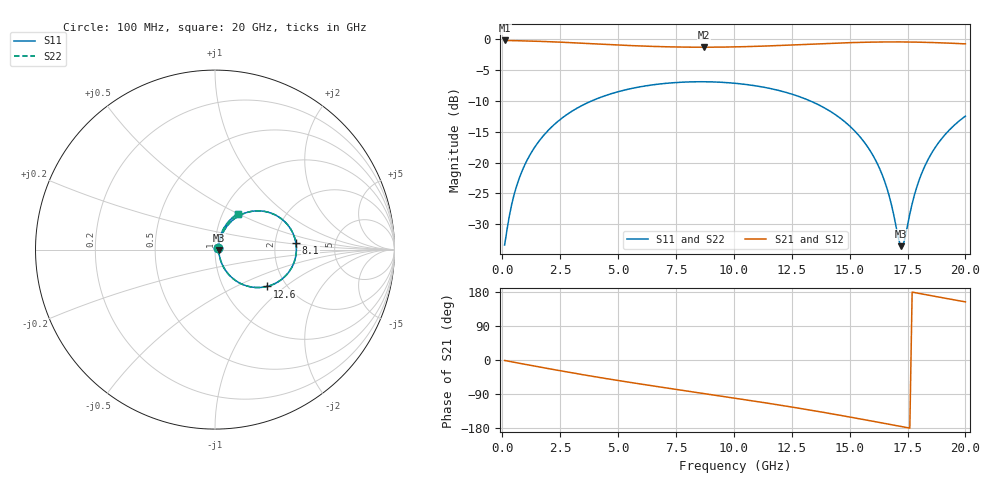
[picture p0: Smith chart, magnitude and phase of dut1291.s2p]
! Touchstone file exported from HFSS 2026.1.0
!  File:  C:/ffzhzh/LocalFiles/Ansys_Project_Files/temp_train_TSV_RDL_1291_1783332228_38704.aedt
!  Generated:  06:14:31 PM Jul  6, 2026
!  Design:  TSV_RDL
!  Project:  temp_train_TSV_RDL_1291_1783332228_38704
! Variables:
!  h_bsmrdl = 3.61um
!  h_ox = 20um
!  h_rdl = 5um
!  h_sub = 83.09um
!  h_tmrdl = 2.74um
!  h_tsv = 83.09um
!  h_via = 3um
!  l_bsmrdl = 533.83um
!  l_sub = 3114.23um
!  l_tmrdl = 252.73um
!  m_sub = 200um
!  pitch = 41.84um
!  r_tsv = 12.92um
!  s_tmrdl = 10um
!  w_bsmrdl = 14.18um
!  w_sub = 500um
!  w_tmrdl = 19.76um
!  x_tsv_center1 = 262.61um
!  x_tsv_center2 = 810.62um
!  x_tsv_center3 = 1083.11um
!  x_tsv_center4 = 1631.12um
!  x_tsv_center5 = 1903.61um
!  x_tsv_center6 = 2451.62um
# GHz S MA R 50.000000
! Terminal data exported
! Port[1] = TM_RDL1_1_T1
! Port[2] = TM_RDL5_1_T1
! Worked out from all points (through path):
!   200 points, 100 MHz to 20 GHz, reference 50 ohm
!   highest |S21| = -0.16 dB at 100 MHz (marker M1); lowest = -1.3 dB at 8.7 GHz (marker M2)
!   group delay of S21, straight-line fit = 27.8 ps
!   lowest |S11| = -33.6 dB at 17.2 GHz (marker M3), VSWR 1.04, Z = 52.1 - j0.369 ohm
!   |S11| at or under -10 dB: start of sweep to 3.849 GHz; 13.31 GHz to end of sweep
!   |S22| runs from -33.7 to -6.9 dB; largest |S21 - S12| = 1.7e-14
!   S11 on the Smith chart (normalised r, x): 100 MHz: 1.04, +0.02; 8.1 GHz: 2.62, +0.24; 12.6 GHz: 1.60, -0.75; 20 GHz: 1.18, +0.50
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0.1  0.02142 27.9  0.9812 -1.2  0.9812 -1.2  0.02142 27.9
! Gamma 0 0 0 0
! Port Impedance 50 0 50 0
0.5  0.05402 61.3  0.9778 -5.9  0.9778 -5.9  0.05402 61.3
1.2  0.1159 64.7  0.9704 -13.9  0.9704 -13.9  0.1159 64.7
2.2  0.2002 58.1  0.9558 -25.0  0.9558 -25.0  0.2002 58.1
3.5  0.2946 46.3  0.9309 -38.9  0.9309 -38.9  0.2946 46.3
5.1  0.3805 31.4  0.8993 -55.0  0.8993 -55.0  0.3805 31.4
6.8  0.4349 16.1  0.8746 -71.1  0.8746 -71.1  0.4349 16.1
8.1  0.4522 4.7  0.8656 -83.0  0.8656 -83.0  0.4522 4.7
8.7  0.4534 -0.5  0.8647 -88.4  0.8647 -88.4  0.4534 -0.6
10.1  0.4397 -12.8  0.8705 -101.2  0.8705 -101.2  0.4397 -12.8
12.6  0.355 -35.3  0.903 -125.1  0.903 -125.1  0.355 -35.4
13.4  0.3107 -42.8  0.9167 -133.3  0.9167 -133.3  0.3107 -42.8
14.6  0.2292 -53.8  0.9361 -146.0  0.9361 -146.0  0.2292 -53.9
15.5  0.1576 -61.2  0.9473 -155.9  0.9473 -155.9  0.1576 -61.3
16.2  0.09766 -64.2  0.9529 -163.8  0.9529 -163.8  0.09761 -64.4
16.7  0.05436 -59.7  0.9547 -169.5  0.9547 -169.5  0.05426 -60.0
17.2  0.02095 -9.7  0.9545 -175.2  0.9545 -175.2  0.02065 -9.9
17.3  0.02101 14.5  0.9542 -176.4  0.9542 -176.4  0.0207 14.7
17.8  0.05466 63.9  0.9516 177.9  0.9516 177.9  0.05453 64.3
18.3  0.09813 68.4  0.9472 172.2  0.9472 172.2  0.09806 68.6
19  0.1585 65.3  0.938 164.4  0.938 164.4  0.1584 65.5
20  0.2384 57.2  0.9204 153.4  0.9204 153.4  0.2384 57.3
